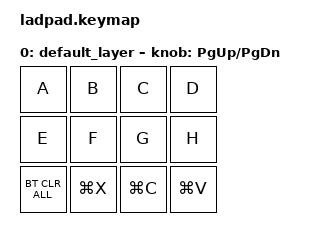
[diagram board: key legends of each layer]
/*
* Copyright (c) 2020 The ZMK Contributors
*
* SPDX-License-Identifier: MIT
*/

#include <behaviors.dtsi>
#include <dt-bindings/zmk/keys.h>
#include <dt-bindings/zmk/bt.h>
#include <dt-bindings/zmk/outputs.h>

/ {
  keymap {
    compatible = "zmk,keymap";

    default_layer {
      bindings = <
        &kp A          &kp B          &kp C          &kp D
        &kp E          &kp F          &kp G          &kp H
        &bt BT_CLR_ALL &kp LG(X)      &kp LG(C)      &kp LG(V)
      >;
      sensor-bindings = <&inc_dec_kp PG_UP PG_DN>;
    };
  };
};
